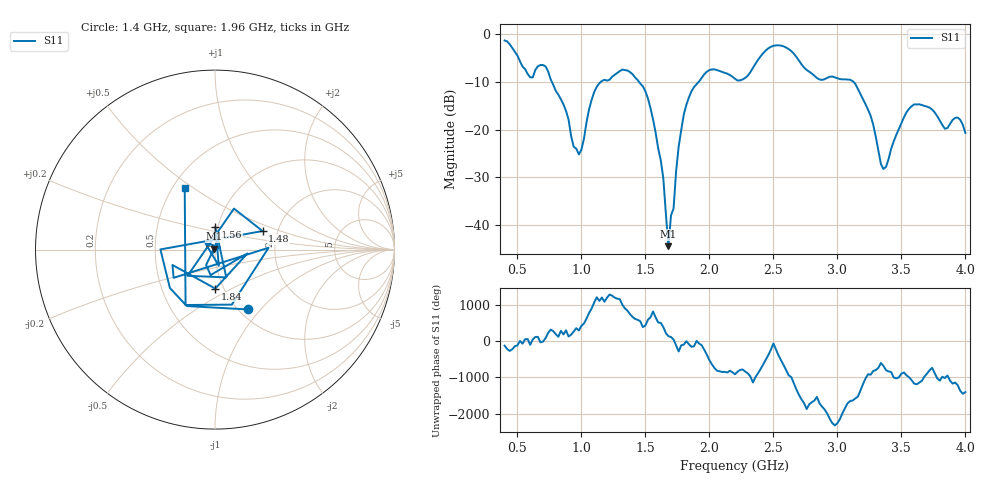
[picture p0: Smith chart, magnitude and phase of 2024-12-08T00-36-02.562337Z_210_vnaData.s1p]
!Created with skrf (http://scikit-rf.org).
# Hz S RI R 50.0
!freq ReS11 ImS11
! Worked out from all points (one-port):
!   181 points, 400 MHz to 4 GHz, reference 50 ohm
!   lowest |S11| = -44.5 dB at 1.68 GHz (marker M1), VSWR 1.01, Z = 49.6 + j0.446 ohm
!   |S11| at or under -10 dB: 769.5 MHz to 1.152 GHz (382.2 MHz wide, 39.8 % of centre); 1.45 GHz to 1.916 GHz (465.7 MHz wide, 27.7 % of centre); 3.126 GHz to end of sweep
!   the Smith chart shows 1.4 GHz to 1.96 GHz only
!   S11 on the Smith chart (normalised r, x): 1.4 GHz: 1.10, -0.86; 1.48 GHz: 1.67, +0.38; 1.56 GHz: 0.97, +0.25; 1.84 GHz: 0.91, -0.42; 1.96 GHz: 0.58, +0.46
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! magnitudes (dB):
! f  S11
! 400 MHz  -1.3
! 600 MHz  -9.0
! 720 MHz  -6.7
! 860 MHz  -14.7
! 980 MHz  -25.2
! 1.1 GHz  -12.1
! 1.3 GHz  -7.7
! 1.4 GHz  -8.4
! 1.48 GHz  -10.9
! 1.56 GHz  -17.9
! 1.64 GHz  -30.3
! 1.68 GHz  -44.5
! 1.72 GHz  -36.6
! 1.76 GHz  -23.6
! 1.84 GHz  -13.3
! 1.96 GHz  -8.4
! 2.2 GHz  -9.3
! 2.48 GHz  -2.6
! 2.66 GHz  -4.1
! 2.86 GHz  -9.5
! 3.1 GHz  -9.5
! 3.26 GHz  -17.1
! 3.36 GHz  -28.3
! 3.56 GHz  -15.6
! 3.72 GHz  -15.4
! 3.84 GHz  -19.8
! 3.94 GHz  -17.5
! 4 GHz  -20.7
